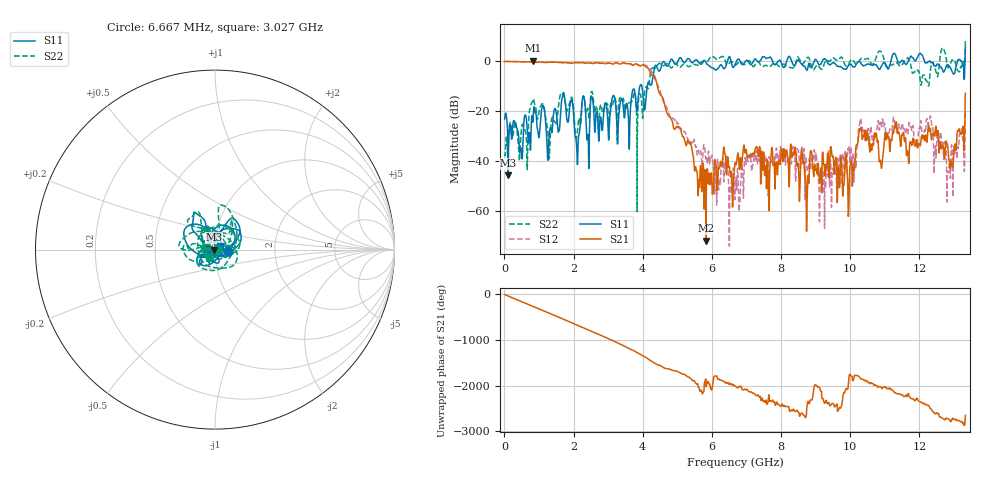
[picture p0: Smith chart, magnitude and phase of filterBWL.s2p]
# MHz MA S R 50.0
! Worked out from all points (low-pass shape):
!   2000 points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, 6.667 MHz to 13.33 GHz, reference 50 ohm
!   highest |S21| = 0.32 dB at 833.3 MHz (marker M1); lowest = -71.8 dB at 5.833 GHz (marker M2)
!   |S21| within 3 dB of the highest: start of sweep to 4.153 GHz
!   lowest |S11| = -45.6 dB at 113.3 MHz (marker M3), VSWR 1.01, Z = 49.5 + j0.0281 ohm
!   |S11| at or under -10 dB: start of sweep to 3.917 GHz; 3.974 GHz to 4.132 GHz (157.7 MHz wide, 3.89 % of centre)
!   |S22| runs from -60.2 to 8.4 dB; largest |S21 - S12| = 0.18
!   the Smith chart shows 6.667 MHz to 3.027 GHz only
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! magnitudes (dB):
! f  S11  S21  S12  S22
! 6.667 MHz  -23.1  0.0  0.0  -37.1
! 113.3 MHz  -45.6  -0.1  -0.1  -33.6
! 633.3 MHz  -22.7  -0.2  -0.2  -30.7
! 833.3 MHz  -22.3  0.3  0.5  -15.1
! 1.287 GHz  -31.7  -0.4  -0.3  -35.2
! 1.707 GHz  -12.4  -0.5  -0.4  -13.0
! 2.107 GHz  -39.2  -0.5  -0.5  -28.7
! 2.233 GHz  -18.0  -0.5  -0.4  -19.4
! 3.867 GHz  -15.1  -1.4  -1.3  -18.0
! 4.453 GHz  -3.7  -11.6  -10.1  -1.1
! 5.833 GHz  -0.4  -71.8  -38.7  0.0
! 6.673 GHz  -1.3  -40.6  -53.6  -1.4
! 8.34 GHz  -1.0  -37.1  -34.1  -2.6
! 8.747 GHz  -3.5  -61.0  -42.0  1.3
! 8.893 GHz  -2.3  -37.2  -38.4  -2.6
! 9.233 GHz  0.9  -41.3  -43.5  -1.7
! 10 GHz  -1.2  -41.5  -38.7  0.1
! 10.28 GHz  -0.1  -27.3  -24.5  0.6
! 11.11 GHz  -2.8  -30.2  -29.4  -1.8
! 12.28 GHz  0.0  -26.4  -24.0  -9.2
! 12.92 GHz  -3.1  -39.9  -35.4  -0.1
! 13.33 GHz  5.6  -12.8  -20.4  8.4
